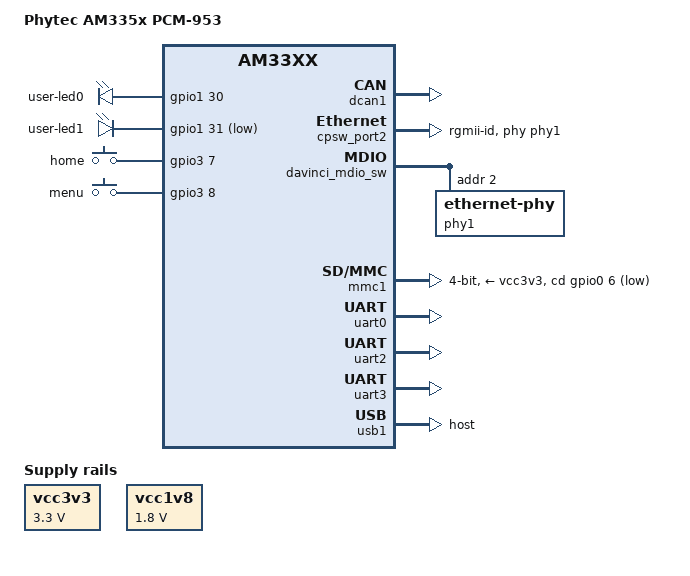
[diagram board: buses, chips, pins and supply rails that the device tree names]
// SPDX-License-Identifier: GPL-2.0-only
/*
 * Copyright (C) 2014-2017 Phytec Messtechnik GmbH
 * Author: Wadim Egorov <w.egorov@phytec.de>
 *	   Teresa Remmet <t.remmet@phytec.de>
 */

#include <dt-bindings/input/input.h>

/ {
	model = "Phytec AM335x PCM-953";
	compatible = "phytec,am335x-pcm-953", "phytec,am335x-phycore-som", "ti,am33xx";

	/* Power */
	vcc3v3: fixedregulator1 {
		compatible = "regulator-fixed";
		regulator-name = "vcc3v3";
		regulator-min-microvolt = <3300000>;
		regulator-max-microvolt = <3300000>;
		regulator-boot-on;
	};

	vcc1v8: fixedregulator2 {
		compatible = "regulator-fixed";
		regulator-name = "vcc1v8";
		regulator-min-microvolt = <1800000>;
		regulator-max-microvolt = <1800000>;
		regulator-boot-on;
	};

	/* User IO */
	user_leds: user-leds {
		compatible = "gpio-leds";
		pinctrl-names = "default";
		pinctrl-0 = <&user_leds_pins>;

		user-led0 {
			gpios = <&gpio1 30 GPIO_ACTIVE_HIGH>;
			default-state = "on";
		};

		user-led1 {
			gpios = <&gpio1 31 GPIO_ACTIVE_LOW>;
			default-state = "on";
		};
	};

	user_buttons: user-buttons {
		compatible = "gpio-keys";
		pinctrl-names = "default";
		pinctrl-0 = <&user_buttons_pins>;

		button-0 {
			label = "home";
			linux,code = <KEY_HOME>;
			gpios = <&gpio3 7 GPIO_ACTIVE_HIGH>;
			wakeup-source;
		};

		button-1 {
			label = "menu";
			linux,code = <KEY_MENU>;
			gpios = <&gpio3 8 GPIO_ACTIVE_HIGH>;
			wakeup-source;
		};

	};
};

&am33xx_pinmux {
	user_buttons_pins: pinmux-user-buttons-pins {
		pinctrl-single,pins = <
			AM33XX_PADCONF(AM335X_PIN_EMU0, PIN_INPUT_PULLDOWN, MUX_MODE7)	/* emu0.gpio3_7 */
			AM33XX_PADCONF(AM335X_PIN_EMU1, PIN_INPUT_PULLDOWN, MUX_MODE7)	/* emu1.gpio3_8 */
		>;
	};

	user_leds_pins: pinmux-user-leds-pins {
		pinctrl-single,pins = <
			AM33XX_PADCONF(AM335X_PIN_GPMC_CSN1, PIN_OUTPUT_PULLDOWN, MUX_MODE7)	/* gpmc_csn1.gpio1_30 */
			AM33XX_PADCONF(AM335X_PIN_GPMC_CSN2, PIN_OUTPUT_PULLDOWN, MUX_MODE7)	/* gpmc_csn2.gpio1_31 */
		>;
	};
};

/* CAN */
&am33xx_pinmux {
	dcan1_pins: pinmux-dcan1-pins {
		pinctrl-single,pins = <
			AM33XX_PADCONF(AM335X_PIN_UART1_RXD, PIN_OUTPUT_PULLUP, MUX_MODE2)	/* uart1_rxd.dcan1_tx_mux2 */
			AM33XX_PADCONF(AM335X_PIN_UART1_TXD, PIN_INPUT_PULLUP, MUX_MODE2)	/* uart1_txd.dcan1_rx_mux2 */
		>;
	};
};

&dcan1 {
	pinctrl-names = "default";
	pinctrl-0 = <&dcan1_pins>;
	status = "okay";
};

/* Ethernet */
&am33xx_pinmux {
	ethernet1_pins: ethernet1-pins {
		pinctrl-single,pins = <
			AM33XX_PADCONF(AM335X_PIN_GPMC_A0, PIN_OUTPUT_PULLDOWN, MUX_MODE2)	/* gpmc_a0.rgmii2_tctl */
			AM33XX_PADCONF(AM335X_PIN_GPMC_A1, PIN_INPUT_PULLDOWN, MUX_MODE2)	/* gpmc_a1.rgmii2_rctl */
			AM33XX_PADCONF(AM335X_PIN_GPMC_A2, PIN_OUTPUT_PULLDOWN, MUX_MODE2)	/* gpmc_a2.rgmii2_td3 */
			AM33XX_PADCONF(AM335X_PIN_GPMC_A3, PIN_OUTPUT_PULLDOWN, MUX_MODE2)	/* gpmc_a3.rgmii2_td2 */
			AM33XX_PADCONF(AM335X_PIN_GPMC_A4, PIN_OUTPUT_PULLDOWN, MUX_MODE2)	/* gpmc_a4.rgmii2_td1 */
			AM33XX_PADCONF(AM335X_PIN_GPMC_A5, PIN_OUTPUT_PULLDOWN, MUX_MODE2)	/* gpmc_a5.rgmii2_td0 */
			AM33XX_PADCONF(AM335X_PIN_GPMC_A6, PIN_OUTPUT_PULLDOWN, MUX_MODE2)	/* gpmc_a6.rgmii2_tclk */
			AM33XX_PADCONF(AM335X_PIN_GPMC_A7, PIN_INPUT_PULLDOWN, MUX_MODE2)	/* gpmc_a7.rgmii2_rclk */
			AM33XX_PADCONF(AM335X_PIN_GPMC_A8, PIN_INPUT_PULLDOWN, MUX_MODE2)	/* gpmc_a8.rgmii2_rd3 */
			AM33XX_PADCONF(AM335X_PIN_GPMC_A9, PIN_INPUT_PULLDOWN, MUX_MODE2)	/* gpmc_a9.rgmii2_rd2 */
			AM33XX_PADCONF(AM335X_PIN_GPMC_A10, PIN_INPUT_PULLDOWN, MUX_MODE2)	/* gpmc_a10.rgmii2_rd1 */
			AM33XX_PADCONF(AM335X_PIN_GPMC_A11, PIN_INPUT_PULLDOWN, MUX_MODE2)	/* gpmc_a11.rgmii2_rd0 */
		>;
	};
};

&cpsw_port2 {
	phy-handle = <&phy1>;
	phy-mode = "rgmii-id";
	ti,dual-emac-pvid = <2>;
	status = "okay";
};

&davinci_mdio_sw {
	phy1: ethernet-phy@2 {
		reg = <2>;
	};
};

&mac_sw {
	pinctrl-names = "default";
	pinctrl-0 = <&ethernet0_pins &ethernet1_pins>;
};

/* Misc */
&am33xx_pinmux {
	pinctrl-names = "default";
	pinctrl-0 = <&cb_gpio_pins>;

	cb_gpio_pins: pinmux-cb-gpio-pins {
		pinctrl-single,pins = <
			AM33XX_PADCONF(AM335X_PIN_UART0_CTSN, PIN_OUTPUT_PULLDOWN, MUX_MODE7)	/* uart0_ctsn.gpio1_8 */
			AM33XX_PADCONF(AM335X_PIN_UART0_RTSN, PIN_OUTPUT_PULLDOWN, MUX_MODE7)	/* uart0_rtsn.gpio1_9 */
		>;
	};
};

/* MMC */
&am33xx_pinmux {
	mmc1_pins: pinmux-mmc1-pins {
		pinctrl-single,pins = <
			AM33XX_PADCONF(AM335X_PIN_MMC0_DAT3, PIN_INPUT_PULLUP, MUX_MODE0)
			AM33XX_PADCONF(AM335X_PIN_MMC0_DAT2, PIN_INPUT_PULLUP, MUX_MODE0)
			AM33XX_PADCONF(AM335X_PIN_MMC0_DAT1, PIN_INPUT_PULLUP, MUX_MODE0)
			AM33XX_PADCONF(AM335X_PIN_MMC0_DAT0, PIN_INPUT_PULLUP, MUX_MODE0)
			AM33XX_PADCONF(AM335X_PIN_MMC0_CLK, PIN_INPUT_PULLUP, MUX_MODE0)
			AM33XX_PADCONF(AM335X_PIN_MMC0_CMD, PIN_INPUT_PULLUP, MUX_MODE0)
			AM33XX_PADCONF(AM335X_PIN_SPI0_CS1, PIN_INPUT_PULLUP, MUX_MODE7)	/* spi0_cs1.mmc0_sdcd */
		>;
	};
};

&mmc1 {
	vmmc-supply = <&vcc3v3>;
	bus-width = <4>;
	pinctrl-names = "default";
	pinctrl-0 = <&mmc1_pins>;
	cd-gpios = <&gpio0 6 GPIO_ACTIVE_LOW>;
	status = "okay";
};

/* UARTs */
&am33xx_pinmux {
	uart0_pins: pinmux-uart0-pins {
		pinctrl-single,pins = <
			AM33XX_PADCONF(AM335X_PIN_UART0_RXD, PIN_INPUT_PULLUP, MUX_MODE0)
			AM33XX_PADCONF(AM335X_PIN_UART0_TXD, PIN_OUTPUT_PULLDOWN, MUX_MODE0)
		>;
	};

	uart1_pins: pinmux-uart1-pins {
		pinctrl-single,pins = <
			AM33XX_PADCONF(AM335X_PIN_UART1_RXD, PIN_INPUT_PULLUP, MUX_MODE0)
			AM33XX_PADCONF(AM335X_PIN_UART1_TXD, PIN_OUTPUT_PULLDOWN, MUX_MODE0)
			AM33XX_PADCONF(AM335X_PIN_UART1_CTSN, PIN_INPUT, MUX_MODE0)
			AM33XX_PADCONF(AM335X_PIN_UART1_RTSN, PIN_OUTPUT_PULLDOWN, MUX_MODE0)
		>;
	};

	uart2_pins: pinmux-uart2-pins {
		pinctrl-single,pins = <
			AM33XX_PADCONF(AM335X_PIN_MII1_TX_CLK, PIN_INPUT_PULLUP, MUX_MODE1)	/* mii1_tx_clk.uart2_rxd */
			AM33XX_PADCONF(AM335X_PIN_MII1_RX_CLK, PIN_OUTPUT_PULLDOWN, MUX_MODE1)	/* mii1_rx_clk.uart2_txd */
		>;
	};

	uart3_pins: pinmux-uart3-pins {
		pinctrl-single,pins = <
			AM33XX_PADCONF(AM335X_PIN_MII1_RXD3, PIN_INPUT_PULLUP, MUX_MODE1)	/* mii1_rxd3.uart3_rxd */
			AM33XX_PADCONF(AM335X_PIN_MII1_RXD2, PIN_OUTPUT_PULLDOWN, MUX_MODE1)	/* mii1_rxd2.uart3_txd */
		>;
	};
};

&uart0 {
	pinctrl-names = "default";
	pinctrl-0 = <&uart0_pins>;
	status = "okay";
};

&uart1 {
	pinctrl-names = "default";
	pinctrl-0 = <&uart1_pins>;
};

&uart2 {
	pinctrl-names = "default";
	pinctrl-0 = <&uart2_pins>;
	status = "okay";
};

&uart3 {
	pinctrl-names = "default";
	pinctrl-0 = <&uart3_pins>;
	status = "okay";
};

/* USB */
&usb1 {
	dr_mode = "host";
};
